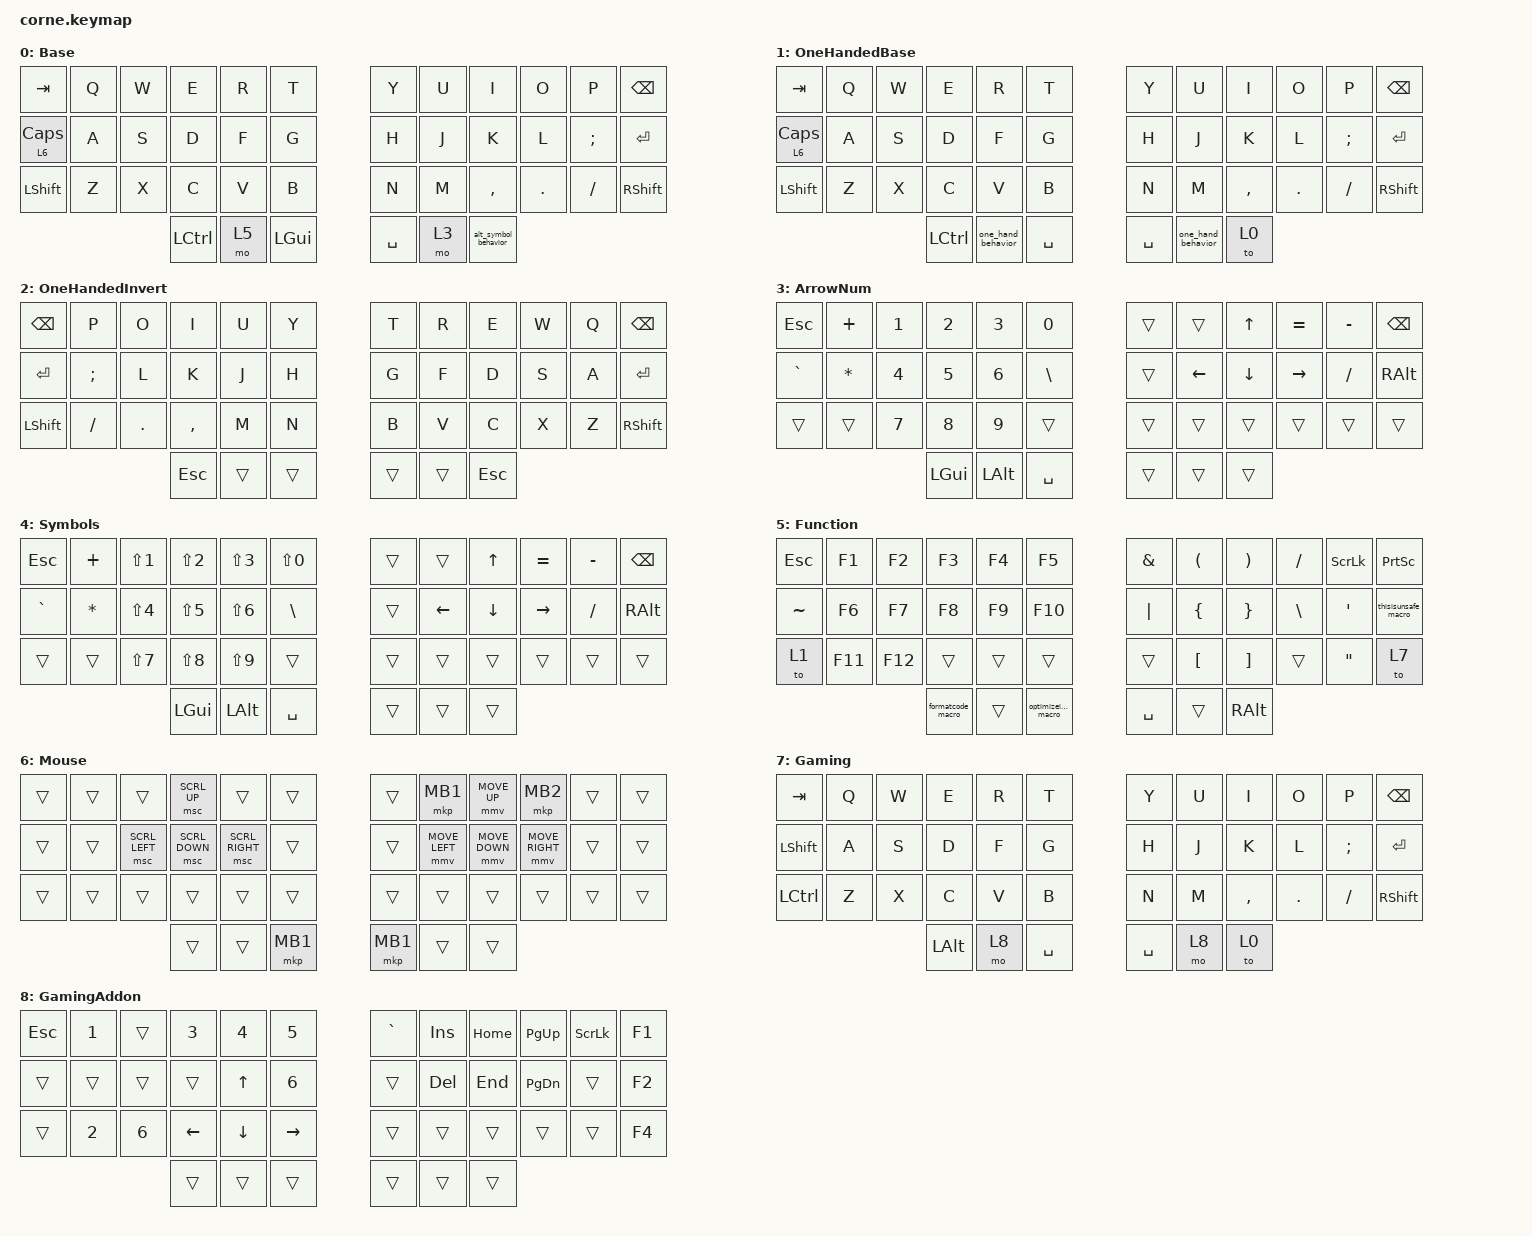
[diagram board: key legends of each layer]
/*
 * Copyright (c) 2020 The ZMK Contributors
 *
 * SPDX-License-Identifier: MIT
 */

#define ZMK_POINTING_DEFAULT_MOVE_VAL 1500
#define ZMK_POINTING_DEFAULT_SCRL_VAL 15

#include <behaviors.dtsi>
#include <dt-bindings/zmk/keys.h>
#include <dt-bindings/zmk/pointing.h>

/ {
    macros {
        optimizeimport_macro: optimizeimport {
            compatible = "zmk,behavior-macro";
            #binding-cells = <0>;
            bindings =
                <&macro_press>,
                <&kp LEFT_CONTROL &kp LEFT_ALT>,
                <&macro_tap>,
                <&kp O>,
                <&macro_release>,
                <&kp LEFT_ALT &kp LEFT_CONTROL>;

            label = "OPTIMIZEIMPORT";
        };

        thisisunsafe_macro: thisisunsafe_macro {
            compatible = "zmk,behavior-macro";
            #binding-cells = <0>;
            bindings =
                <&macro_tap>,
                <&kp T &kp H &kp I &kp S &kp I &kp S &kp U &kp N &kp S &kp A &kp F &kp E>;

            label = "THISISUNSAFE_MACRO";
        };

        formatcode_macro: formatcode_macro {
            compatible = "zmk,behavior-macro";
            #binding-cells = <0>;
            bindings =
                <&macro_press>,
                <&kp LEFT_ALT &kp LEFT_GUI>,
                <&macro_tap>,
                <&kp L>,
                <&macro_release>,
                <&kp LEFT_GUI &kp LEFT_ALT>;

            label = "FORMATCODE_MACRO";
        };

        video_macro: video_macro {
            compatible = "zmk,behavior-macro";
            #binding-cells = <0>;
            bindings =
                <&macro_press>,
                <&kp LEFT_GUI &kp LEFT_SHIFT>,
                <&macro_tap>,
                <&kp NUMBER_5>,
                <&macro_release>,
                <&kp LEFT_SHIFT &kp LEFT_ALT>;

            label = "VIDEO_MACRO";
        };
    };

    combos {
        compatible = "zmk,combos";

        video_combo {
            bindings = <&video_macro>;
            key-positions = <12 11>;
            layers = <5>;
            timeout-ms = <3000>;
        };
    };

    behaviors {
        alt_symbol_behavior: alt_symbol_behavior {
            compatible = "zmk,behavior-tap-dance";
            label = "ALT_SYMBOL_BEHAVIOR";
            #binding-cells = <0>;
            tapping-term-ms = <200>;
            bindings = <&mo 4>, <&kp LEFT_ALT>;
        };

        one_hand_behavior: one_hand_behavior {
            compatible = "zmk,behavior-tap-dance";
            label = "ONE_HAND_BEHAVIOR";
            #binding-cells = <0>;
            bindings = <&mo 2>, <&mo 3>;

            tapping-term-ms = <200>;
        };
    };

    keymap {
        compatible = "zmk,keymap";

        Base {
            // -----------------------------------------------------------------------------------------
            // |  TAB |  Q  |  W  |  E  |  R  |  T  |   |  Y  |  U   |  I  |  O  |  P  | BSPC |
            // | CTRL |  A  |  S  |  D  |  F  |  G  |   |  H  |  J   |  K  |  L  |  ;  |  '   |
            // | SHFT |  Z  |  X  |  C  |  V  |  B  |   |  N  |  M   |  ,  |  .  |  /  | ESC  |
            //                    | GUI | LWR | SPC |   | ENT | RSE  | ALT |

            bindings = <
&kp TAB     &kp Q  &kp W  &kp E             &kp R  &kp T           &kp Y      &kp U  &kp I                 &kp O    &kp P     &kp BSPC
&lt 6 CAPS  &kp A  &kp S  &kp D             &kp F  &kp G           &kp H      &kp J  &kp K                 &kp L    &kp SEMI  &kp ENTER
&kp LSHFT   &kp Z  &kp X  &kp C             &kp V  &kp B           &kp N      &kp M  &kp COMMA             &kp DOT  &kp FSLH  &kp RIGHT_SHIFT
                          &kp LEFT_CONTROL  &mo 5  &kp LEFT_GUI    &kp SPACE  &mo 3  &alt_symbol_behavior
            >;
        };

        OneHandedBase {
            bindings = <
&kp TAB     &kp Q  &kp W  &kp E             &kp R               &kp T        &kp Y      &kp U               &kp I      &kp O    &kp P     &kp BSPC
&lt 6 CAPS  &kp A  &kp S  &kp D             &kp F               &kp G        &kp H      &kp J               &kp K      &kp L    &kp SEMI  &kp ENTER
&kp LSHFT   &kp Z  &kp X  &kp C             &kp V               &kp B        &kp N      &kp M               &kp COMMA  &kp DOT  &kp FSLH  &kp RIGHT_SHIFT
                          &kp LEFT_CONTROL  &one_hand_behavior  &kp SPACE    &kp SPACE  &one_hand_behavior  &to 0
            >;
        };

        OneHandedInvert {
            bindings = <
&kp BACKSPACE  &kp P     &kp O    &kp I       &kp U   &kp Y     &kp T   &kp R   &kp E       &kp W  &kp Q  &kp BSPC
&kp ENTER      &kp SEMI  &kp L    &kp K       &kp J   &kp H     &kp G   &kp F   &kp D       &kp S  &kp A  &kp ENTER
&kp LSHFT      &kp FSLH  &kp DOT  &kp COMMA   &kp M   &kp N     &kp B   &kp V   &kp C       &kp X  &kp Z  &kp RSHFT
                                  &kp ESCAPE  &trans  &trans    &trans  &trans  &kp ESCAPE
            >;
        };

        ArrowNum {
            // -----------------------------------------------------------------------------------------
            // |  TAB |  1  |  2  |  3  |  4  |  5  |   |  6  |  7  |  8  |  9  |  0  | BSPC |
            // | BTCLR| BT1 | BT2 | BT3 | BT4 | BT5 |   | LFT | DWN |  UP | RGT |     |      |
            // | SHFT |     |     |     |     |     |   |     |     |     |     |     |      |
            //                    | GUI |     | SPC |   | ENT |     | ALT |

            bindings = <
&kp ESC    &kp PLUS  &kp N1  &kp N2    &kp N3    &kp N0           &trans  &trans          &kp UP_ARROW    &kp EQUAL  &kp MINUS  &kp BSPC
&kp GRAVE  &kp STAR  &kp N4  &kp N5    &kp N6    &kp BACKSLASH    &trans  &kp LEFT_ARROW  &kp DOWN_ARROW  &kp RIGHT  &kp SLASH  &kp RALT
&trans     &trans    &kp N7  &kp N8    &kp N9    &trans           &trans  &trans          &trans          &trans     &trans     &trans
                             &kp LGUI  &kp LALT  &kp SPACE        &trans  &trans          &trans
            >;
        };

        Symbols {
            bindings = <
&kp ESC    &kp PLUS  &kp LS(N1)  &kp LS(N2)  &kp LS(N3)  &kp LS(N0)       &trans  &trans          &kp UP_ARROW    &kp EQUAL  &kp MINUS  &kp BSPC
&kp GRAVE  &kp STAR  &kp LS(N4)  &kp LS(N5)  &kp LS(N6)  &kp BACKSLASH    &trans  &kp LEFT_ARROW  &kp DOWN_ARROW  &kp RIGHT  &kp SLASH  &kp RALT
&trans     &trans    &kp LS(N7)  &kp LS(N8)  &kp LS(N9)  &trans           &trans  &trans          &trans          &trans     &trans     &trans
                                 &kp LGUI    &kp LALT    &kp SPACE        &trans  &trans          &trans
            >;
        };

        Function {
            // -----------------------------------------------------------------------------------------
            // |  TAB |  !  |  @  |  #  |  $  |  %  |   |  ^  |  &  |  *  |  (  |  )  | BSPC |
            // | CTRL |     |     |     |     |     |   |  -  |  =  |  [  |  ]  |  \  |  `   |
            // | SHFT |     |     |     |     |     |   |  _  |  +  |  {  |  }  | "|" |  ~   |
            //                    | GUI |     | SPC |   | ENT |     | ALT |

            bindings = <
&kp ESCAPE  &kp F1   &kp F2   &kp F3             &kp F4  &kp F5                   &kp AMPS   &kp LEFT_PARENTHESIS  &kp RIGHT_PARENTHESIS  &kp SLASH      &kp SCROLLLOCK     &kp PRINTSCREEN
&kp TILDE   &kp F6   &kp F7   &kp F8             &kp F9  &kp F10                  &kp PIPE   &kp LEFT_BRACE        &kp RIGHT_BRACE        &kp BACKSLASH  &kp SINGLE_QUOTE   &thisisunsafe_macro
&to 1       &kp F11  &kp F12  &trans             &trans  &trans                   &trans     &kp LEFT_BRACKET      &kp RIGHT_BRACKET      &trans         &kp DOUBLE_QUOTES  &to 7
                              &formatcode_macro  &trans  &optimizeimport_macro    &kp SPACE  &trans                &kp RALT
            >;
        };

        Mouse {
            bindings = <
&trans  &trans  &trans          &msc SCRL_UP    &trans           &trans      &trans    &mkp MB1        &mmv MOVE_UP    &mkp MB2         &trans  &trans
&trans  &trans  &msc SCRL_LEFT  &msc SCRL_DOWN  &msc SCRL_RIGHT  &trans      &trans    &mmv MOVE_LEFT  &mmv MOVE_DOWN  &mmv MOVE_RIGHT  &trans  &trans
&trans  &trans  &trans          &trans          &trans           &trans      &trans    &trans          &trans          &trans           &trans  &trans
                                &trans          &trans           &mkp MB1    &mkp MB1  &trans          &trans
            >;
        };

        Gaming {
            bindings = <
&kp TAB         &kp Q  &kp W  &kp E         &kp R  &kp T        &kp Y      &kp U  &kp I      &kp O    &kp P     &kp BSPC
&kp LEFT_SHIFT  &kp A  &kp S  &kp D         &kp F  &kp G        &kp H      &kp J  &kp K      &kp L    &kp SEMI  &kp ENTER
&kp LCTRL       &kp Z  &kp X  &kp C         &kp V  &kp B        &kp N      &kp M  &kp COMMA  &kp DOT  &kp FSLH  &kp RIGHT_SHIFT
                              &kp LEFT_ALT  &mo 8  &kp SPACE    &kp SPACE  &mo 8  &to 0
            >;
        };

        GamingAddon {
            bindings = <
&kp ESCAPE  &kp N1  &trans        &kp N3          &kp N4          &kp N5             &kp GRAVE  &kp INS  &kp HOME  &kp PAGE_UP    &kp SCROLLLOCK  &kp F1
&trans      &trans  &trans        &trans          &kp UP_ARROW    &kp N6             &trans     &kp DEL  &kp END   &kp PAGE_DOWN  &trans          &kp F2
&trans      &kp N2  &kp NUMBER_6  &kp LEFT_ARROW  &kp DOWN_ARROW  &kp RIGHT_ARROW    &trans     &trans   &trans    &trans         &trans          &kp F4
                                  &trans          &trans          &trans             &trans     &trans   &trans
            >;
        };
    };
};
